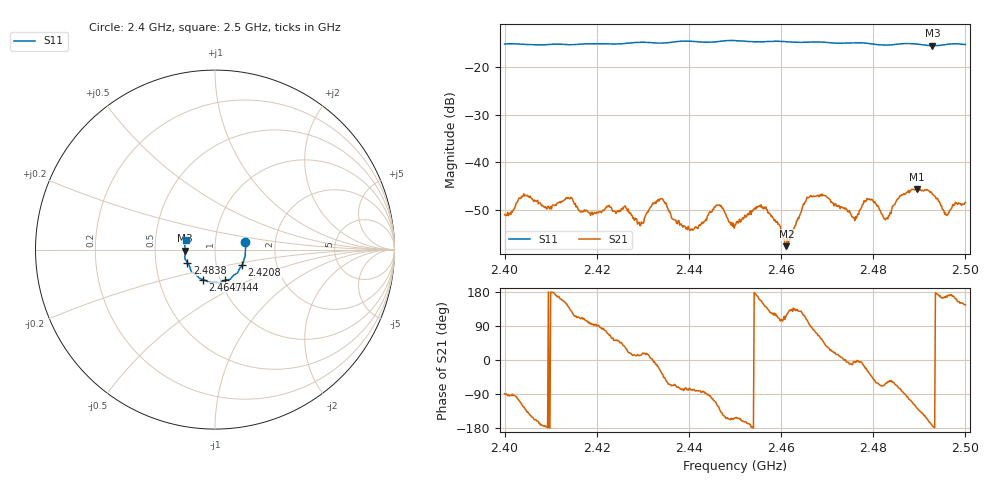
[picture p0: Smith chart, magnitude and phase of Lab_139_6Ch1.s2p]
# Hz S RI R 50
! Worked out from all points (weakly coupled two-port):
!   601 points, 2.4 GHz to 2.5 GHz, reference 50 ohm
!   highest |S21| = -45.55 dB at 2.4895 GHz (marker M1); lowest = -57.5 dB at 2.4612 GHz (marker M2)
!   lowest |S11| = -15.6 dB at 2.4928 GHz (marker M3), VSWR 1.40, Z = 35.8 - j0.374 ohm
!   |S11| at or under -10 dB: start of sweep to end of sweep
!   S12 and S22 are empty: the file has one direction only
!   S11 on the Smith chart (normalised r, x): 2.4 GHz: 1.40, +0.12; 2.4208 GHz: 1.33, -0.24; 2.444 GHz: 1.06, -0.37; 2.4647 GHz: 0.83, -0.29; 2.4838 GHz: 0.73, -0.11; 2.5 GHz: 0.72, +0.08
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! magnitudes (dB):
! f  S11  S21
! 2.4 GHz  -15.2  -50.9
! 2.4045 GHz  -15.3  -46.8
! 2.4167 GHz  -15.2  -50.2
! 2.4208 GHz  -15.2  -50.3
! 2.4297 GHz  -14.9  -52.5
! 2.4333 GHz  -15.1  -47.7
! 2.4398 GHz  -14.6  -53.4
! 2.444 GHz  -14.9  -51.2
! 2.4465 GHz  -14.7  -48.9
! 2.45 GHz  -14.5  -53.2
! 2.4562 GHz  -14.8  -49.7
! 2.4612 GHz  -14.8  -57.5
! 2.4647 GHz  -14.9  -49.3
! 2.4667 GHz  -14.8  -47.2
! 2.4758 GHz  -15.0  -51.6
! 2.4792 GHz  -15.2  -47.6
! 2.4833 GHz  -15.5  -51.2
! 2.4838 GHz  -15.4  -50.7
! 2.4895 GHz  -15.3  -45.5
! 2.4928 GHz  -15.6  -46.7
! 2.4958 GHz  -15.3  -51.1
! 2.5 GHz  -15.4  -48.3
